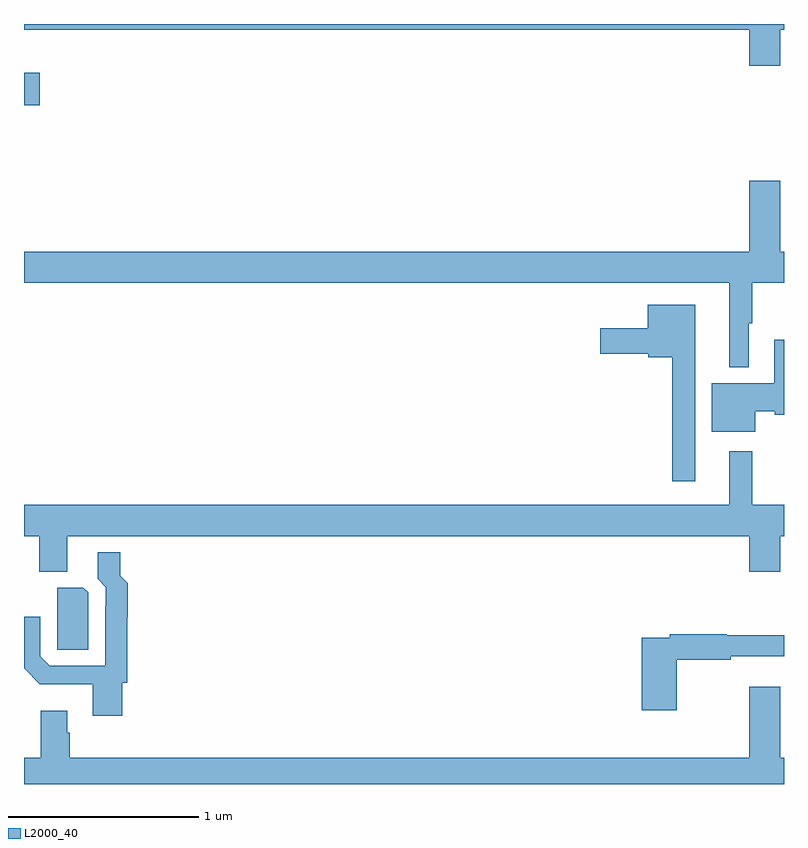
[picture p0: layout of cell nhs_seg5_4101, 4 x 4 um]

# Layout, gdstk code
import gdstk
lib = gdstk.Library(unit=1e-6, precision=1e-09)
def R(c, l, rs):  # rectangles x0, y0, x1, y1
    for r in rs: c.add(gdstk.rectangle(r[:2], r[2:], *l))
def P(c, l, *ps):  # polygons
    for p in ps: c.add(gdstk.Polygon(p, *l))
L2000_40 = (2000, 40)

nhs_seg5_4101 = lib.new_cell('nhs_seg5_4101')
R(nhs_seg5_4101, L2000_40, [(353,848.372,353.083,848.542)])
P(nhs_seg5_4101, L2000_40, [(356.98,848.768),(357,848.768),(357,848.799),(353,848.799),(353,848.768),(356.816,848.768),(356.816,848.58),(356.98,848.58)],
  [(356.815,847.225),(356.833,847.225),(356.833,847.436),(357,847.436),(357,847.6),(356.98,847.6),(356.98,847.975),(356.816,847.975),(356.816,847.6),(353,847.6),(353,847.436),(356.711,847.436),(356.711,846.992),(356.815,846.992)],
  [(356.533,847.321),(356.282,847.321),(356.282,847.198),(356.034,847.198),(356.034,847.064),(356.286,847.064),(356.286,847.046),(356.412,847.046),(356.412,846.393),(356.533,846.393)],
  [(356.848,846.76),(356.952,846.76),(356.952,846.742),(357,846.742),(357,847.138),(356.948,847.138),(356.948,846.907),(356.621,846.907),(356.621,846.653),(356.848,846.653)],
  [(356.98,846.104),(357,846.104),(357,846.268),(356.833,846.268),(356.833,846.55),(356.711,846.55),(356.711,846.268),(353,846.268),(353,846.104),(353.08,846.104),(353.08,845.917),(353.227,845.917),(353.227,846.104),(356.816,846.104),(356.816,845.916),(356.98,845.916)],
  [(353.516,845.331),(353.543,845.331),(353.543,845.674),(353.546,845.674),(353.546,845.856),(353.507,845.895),(353.507,846.019),(353.387,846.019),(353.387,845.878),(353.43,845.835),(353.43,845.735),(353.427,845.735),(353.427,845.421),(353.136,845.421),(353.085,845.472),(353.085,845.68),(353,845.68),(353,845.407),(353.083,845.324),(353.363,845.324),(353.363,845.157),(353.516,845.157)],
  [(353.337,845.808),(353.313,845.832),(353.174,845.832),(353.174,845.617),(353.175,845.617),(353.175,845.506),(353.337,845.506)],
  [(356.435,845.452),(356.72,845.452),(356.72,845.471),(357,845.471),(357,845.581),(356.698,845.581),(356.698,845.588),(356.398,845.588),(356.398,845.568),(356.252,845.568),(356.252,845.187),(356.435,845.187)],
  [(357,844.936),(356.98,844.936),(356.98,845.311),(356.816,845.311),(356.816,844.936),(353.24,844.936),(353.24,845.069),(353.227,845.069),(353.227,845.185),(353.087,845.185),(353.087,844.936),(353,844.936),(353,844.799),(357,844.799)])

lib.write_gds('nhs_seg5_4101.gds')
